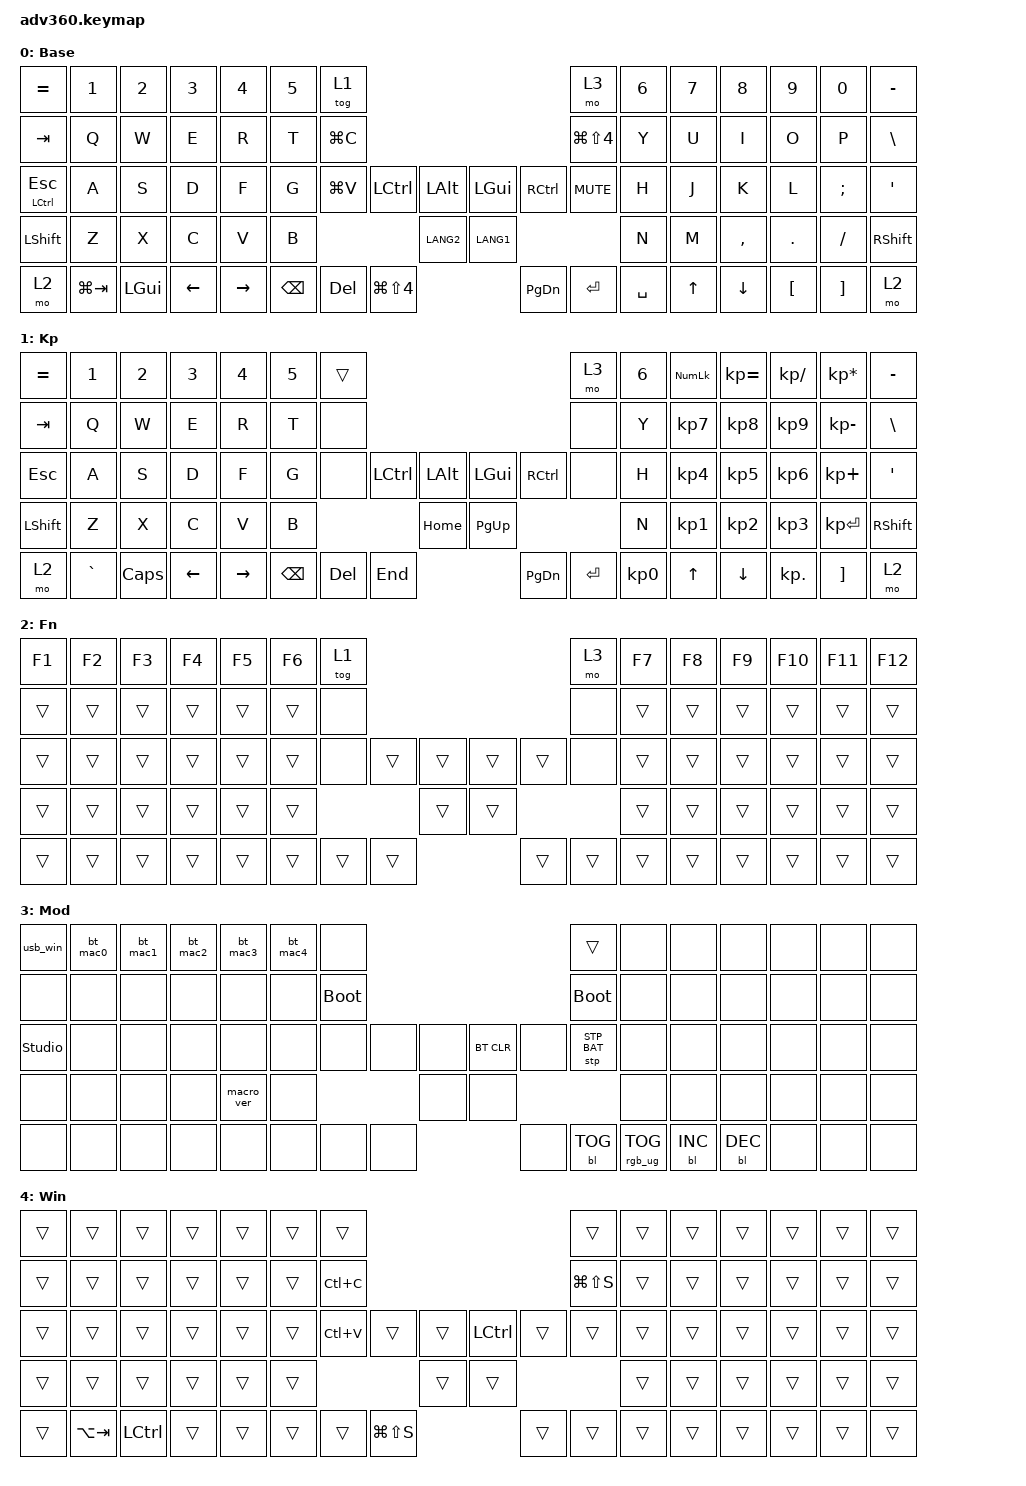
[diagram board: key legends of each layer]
#include <behaviors.dtsi>
#include <dt-bindings/zmk/keys.h>
#include <dt-bindings/zmk/bt.h>
#include <dt-bindings/zmk/outputs.h>
#include <dt-bindings/zmk/rgb.h>
#include <dt-bindings/zmk/stp.h>
#include <dt-bindings/zmk/backlight.h>
#include <dt-bindings/zmk/pointing.h>

/ {
    behaviors {
      #include "macros.dtsi"
      #include "version.dtsi"

      hm: homerow_mods {
          compatible = "zmk,behavior-hold-tap";
          label = "HOMEROW_MODS";
          #binding-cells = <2>;
          tapping-term-ms = <200>;
          quick_tap_ms = <175>;
          flavor = "tap-preferred";
          bindings = <&kp>, <&kp>;
      };

      // 出力先の切り替え: USB(電カル等のWindows)はWin層、Bluetooth(Mac)はBase
      usb_win: usb_win {
          compatible = "zmk,behavior-macro";
          #binding-cells = <0>;
          display-name = "USB + Win keys";
          bindings = <&out OUT_USB &to 4>;
      };
      bt_mac0: bt_mac0 {
          compatible = "zmk,behavior-macro";
          #binding-cells = <0>;
          display-name = "BT1 + Mac keys";
          bindings = <&out OUT_BLE &bt BT_SEL 0 &to 0>;
      };
      bt_mac1: bt_mac1 {
          compatible = "zmk,behavior-macro";
          #binding-cells = <0>;
          display-name = "BT2 + Mac keys";
          bindings = <&out OUT_BLE &bt BT_SEL 1 &to 0>;
      };
      bt_mac2: bt_mac2 {
          compatible = "zmk,behavior-macro";
          #binding-cells = <0>;
          display-name = "BT3 + Mac keys";
          bindings = <&out OUT_BLE &bt BT_SEL 2 &to 0>;
      };
      bt_mac3: bt_mac3 {
          compatible = "zmk,behavior-macro";
          #binding-cells = <0>;
          display-name = "BT4 + Mac keys";
          bindings = <&out OUT_BLE &bt BT_SEL 3 &to 0>;
      };
      bt_mac4: bt_mac4 {
          compatible = "zmk,behavior-macro";
          #binding-cells = <0>;
          display-name = "BT5 + Mac keys";
          bindings = <&out OUT_BLE &bt BT_SEL 4 &to 0>;
      };
    };

  keymap {
    compatible = "zmk,keymap";

    default_layer {
      display-name = "Base";
      bindings = <
        &kp EQUAL &kp N1    &kp N2   &kp N3   &kp N4     &kp N5 &tog 1                                                           &mo 3 &kp N6 &kp N7 &kp N8    &kp N9   &kp N0   &kp MINUS
        &kp TAB   &kp Q     &kp W    &kp E    &kp R      &kp T  &kp LG(C)                                                        &kp LG(LS(N4)) &kp Y  &kp U  &kp I     &kp O    &kp P    &kp BSLH
        &mt LCTRL ESC &kp A &kp S    &kp D    &kp F      &kp G  &kp LG(V)       &kp LCTRL &kp LALT &kp LGUI  &kp RCTRL           &kp C_MUTE &kp H  &kp J  &kp K     &kp L    &kp SEMI &kp SQT
        &kp LSHFT &kp Z     &kp X    &kp C    &kp V      &kp B                            &kp LANG2 &kp LANG1                          &kp N  &kp M  &kp COMMA &kp DOT  &kp FSLH &kp RSHFT
        &mo 2     &kp LG(TAB) &kp LGUI &kp LEFT &kp RIGHT              &kp BSPC &kp DEL   &kp LG(LS(N4)) &kp PG_DN &kp ENTER &kp SPACE              &kp UP &kp DOWN  &kp LBKT &kp RBKT &mo 2
      >;
    };
    keypad {
      display-name = "Kp";
      bindings = <
        &kp EQUAL &kp N1    &kp N2   &kp N3   &kp N4     &kp N5 &trans                                                           &mo 3 &kp N6 &kp KP_NUM &kp KP_EQUAL &kp KP_DIVIDE &kp KP_MULTIPLY &kp MINUS
        &kp TAB   &kp Q     &kp W    &kp E    &kp R      &kp T  &none                                                            &none &kp Y  &kp KP_N7  &kp KP_N8    &kp KP_N9     &kp KP_MINUS    &kp BSLH
        &kp ESC   &kp A     &kp S    &kp D    &kp F      &kp G  &none           &kp LCTRL &kp LALT &kp LGUI  &kp RCTRL           &none &kp H  &kp KP_N4  &kp KP_N5    &kp KP_N6     &kp KP_PLUS     &kp SQT
        &kp LSHFT &kp Z     &kp X    &kp C    &kp V      &kp B                            &kp HOME &kp PG_UP                           &kp N  &kp KP_N1  &kp KP_N2    &kp KP_N3     &kp KP_ENTER    &kp RSHFT
        &mo 2     &kp GRAVE &kp CAPS &kp LEFT &kp RIGHT                &kp BSPC &kp DEL   &kp END  &kp PG_DN &kp ENTER &kp KP_N0              &kp UP     &kp DOWN     &kp KP_DOT    &kp RBKT        &mo 2
      >;
    };
    fn {
      display-name = "Fn";
      bindings = <
        &kp F1 &kp F2 &kp F3 &kp F4 &kp F5 &kp F6 &tog 1                                           &mo 3 &kp F7 &kp F8 &kp F9 &kp F10 &kp F11 &kp F12
        &trans &trans &trans &trans &trans &trans  &none                                           &none &trans &trans &trans &trans  &trans  &trans
        &trans &trans &trans &trans &trans &trans  &none        &trans &trans &trans &trans        &none &trans &trans &trans &trans  &trans  &trans
        &trans &trans &trans &trans &trans &trans                      &trans &trans                     &trans &trans &trans &trans  &trans  &trans
        &trans &trans &trans &trans &trans               &trans &trans &trans &trans &trans &trans              &trans &trans &trans  &trans  &trans
      >;
    };
    mod {
      display-name = "Mod";
      bindings = <
        &usb_win &bt_mac0 &bt_mac1 &bt_mac2 &bt_mac3 &bt_mac4 &none                                                                     &trans                 &none        &none        &none        &none &none &none
        &none &none        &none        &none        &none        &none        &bootloader                                                               &bootloader            &none        &none        &none        &none &none &none
        &studio_unlock &none        &none        &none        &none        &none        &none                   &none &none &bt BT_CLR &none                      &stp STP_BAT &none        &none        &none        &none &none &none
        &none &none        &none        &none        &macro_ver   &none                                      &none &none                                                        &none        &none        &none        &none &none &none
        &none &none        &none        &none        &none                                       &none &none &none &none      &bl BL_TOG &rgb_ug RGB_TOG                                     &bl BL_INC   &bl BL_DEC   &none &none &none
      >;
    };
    win {
      display-name = "Win";
      bindings = <
        &trans &trans &trans &trans &trans &trans &trans     &trans &trans &trans &trans &trans &trans &trans
        &trans &trans &trans &trans &trans &trans &kp LC(C)     &kp LG(LS(S)) &trans &trans &trans &trans &trans &trans
        &trans &trans &trans &trans &trans &trans &kp LC(V)     &trans &trans &kp LCTRL &trans     &trans &trans &trans &trans &trans &trans &trans
        &trans &trans &trans &trans &trans &trans     &trans &trans     &trans &trans &trans &trans &trans &trans
        &trans &kp LA(TAB) &kp LCTRL &trans &trans     &trans &trans &kp LG(LS(S)) &trans &trans &trans     &trans &trans &trans &trans &trans
      >;
    };

    extra2 { 
      display-name = "Purple";    
      status = "reserved";
    };

    extra3 { 
      display-name = "Cyan";    
      status = "reserved";
    };

    extra4 { 
      display-name = "Yellow";    
      status = "reserved";
    };
  };
};
